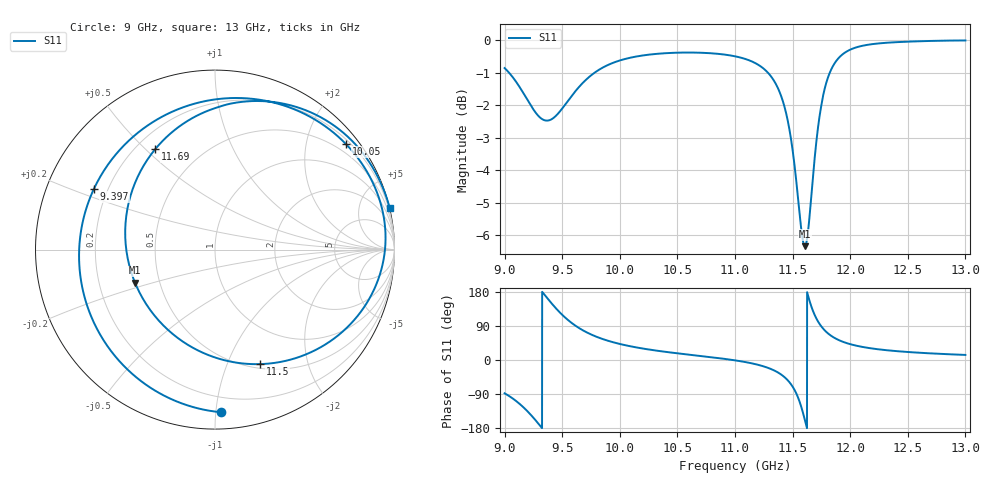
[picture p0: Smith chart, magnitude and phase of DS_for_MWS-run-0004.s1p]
! TOUCHSTONE file generated by CST DESIGN STUDIO
! Date and time: Tue Feb  4 14:18:25 2025
! Project name: C:\Work\MatlabApps\UnitCellOptimizationMatlab\CST\unitcell.cst
! Tree item: Tasks\Sweep1\SPara1\S-Parameters
! Header version: 2024
! Port assignment regex: !\s*Touchstone port\s*([0-9]+)\s*=\s*(CST MWS port|CST DES external port|CST DES block port)\s*(.+)\s* \(\"(.*)\"\)(\s*mode\s*([0-9]+))?.*
! Touchstone port assignment:
! Touchstone port 1 = CST DES external port 1 ("")
# GHz S MA R 50
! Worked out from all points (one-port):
!   4001 points, 9 GHz to 13 GHz, reference 50 ohm
!   lowest |S11| = -6.3 dB at 11.61 GHz (marker M1), VSWR 2.86, Z = 18.1 - j8.66 ohm
!   |S11| at or under -10 dB: nowhere
!   S11 on the Smith chart (normalised r, x): 9 GHz: 0.10, -1.03; 9.397 GHz: 0.15, +0.23; 10.05 GHz: 0.29, +2.80; 11.5 GHz: 0.55, -1.32; 11.69 GHz: 0.28, +0.54; 13 GHz: -0.00, +8.52
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9  0.9068 -87.8
9.094  0.8667 -106.9
9.178  0.8213 -129.1
9.293  0.7654 -167.8
9.397  0.7547 153.4
9.5  0.7857 119.2
9.606  0.8318 92.4
9.741  0.8809 68.8
10  0.9316 42.3
10.049  0.9369 38.9
10.5  0.9577 17.6
11  0.9455 -0.9
11.198  0.9184 -12.5
11.328  0.8727 -25.9
11.421  0.8004 -43.0
11.496  0.6864 -68.3
11.5  0.6783 -70.2
11.555  0.5538 -105.2
11.606  0.4823 -157.6
11.645  0.5309 158.2
11.689  0.6518 120.6
11.732  0.7602 96.1
11.783  0.8488 76.9
11.877  0.9291 56.1
12  0.968 41.8
12.192  0.9872 30.3
12.5  0.9959 21.1
13  1 13.4
